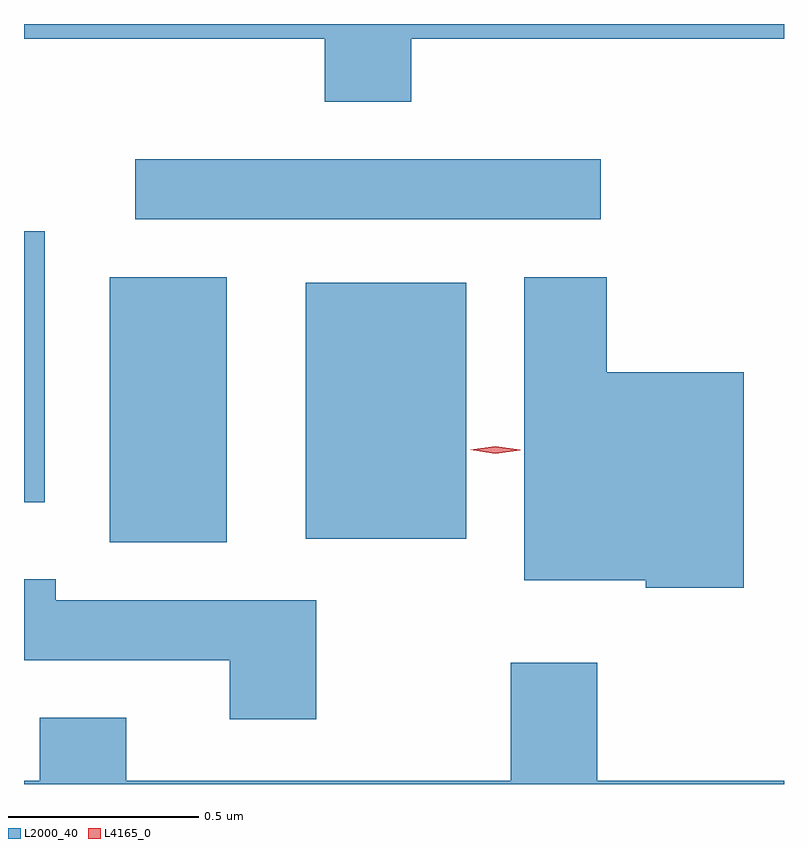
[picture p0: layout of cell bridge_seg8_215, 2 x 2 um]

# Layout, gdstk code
import gdstk
lib = gdstk.Library(unit=1e-6, precision=1e-09)
def R(c, l, rs):  # rectangles x0, y0, x1, y1
    for r in rs: c.add(gdstk.rectangle(r[:2], r[2:], *l))
def P(c, l, *ps):  # polygons
    for p in ps: c.add(gdstk.Polygon(p, *l))
L2000_40 = (2000, 40)
L4165_0 = (4165, 0)

bridge_seg8_215 = lib.new_cell('bridge_seg8_215')
R(bridge_seg8_215, L2000_40, [(1207.266,1897.251,1207.574,1897.949), (1207.781,1897.261,1208.204,1897.934), (1207.04,1897.356,1207.094,1898.069), (1207.333,1898.101,1208.558,1898.259)])
P(bridge_seg8_215, L2000_40, [(1208.059,1898.576),(1209.04,1898.576),(1209.04,1898.615),(1207.04,1898.615),(1207.04,1898.576),(1207.831,1898.576),(1207.831,1898.411),(1208.059,1898.411)],
  [(1208.934,1897.699),(1208.574,1897.699),(1208.574,1897.949),(1208.356,1897.949),(1208.356,1897.151),(1208.676,1897.151),(1208.676,1897.131),(1208.934,1897.131)],
  [(1207.809,1897.099),(1207.124,1897.099),(1207.124,1897.154),(1207.04,1897.154),(1207.04,1896.941),(1207.581,1896.941),(1207.581,1896.786),(1207.809,1896.786)],
  [(1207.081,1896.789),(1207.081,1896.624),(1207.04,1896.624),(1207.04,1896.615),(1209.04,1896.615),(1209.04,1896.624),(1208.549,1896.624),(1208.549,1896.934),(1208.321,1896.934),(1208.321,1896.624),(1207.309,1896.624),(1207.309,1896.789)])
P(bridge_seg8_215, L4165_0, [(1208.28,1897.484),(1208.214,1897.494),(1208.214,1897.494),(1208.214,1897.495),(1208.28,1897.504),(1208.346,1897.494),(1208.346,1897.494),(1208.346,1897.493)])

lib.write_gds('bridge_seg8_215.gds')
